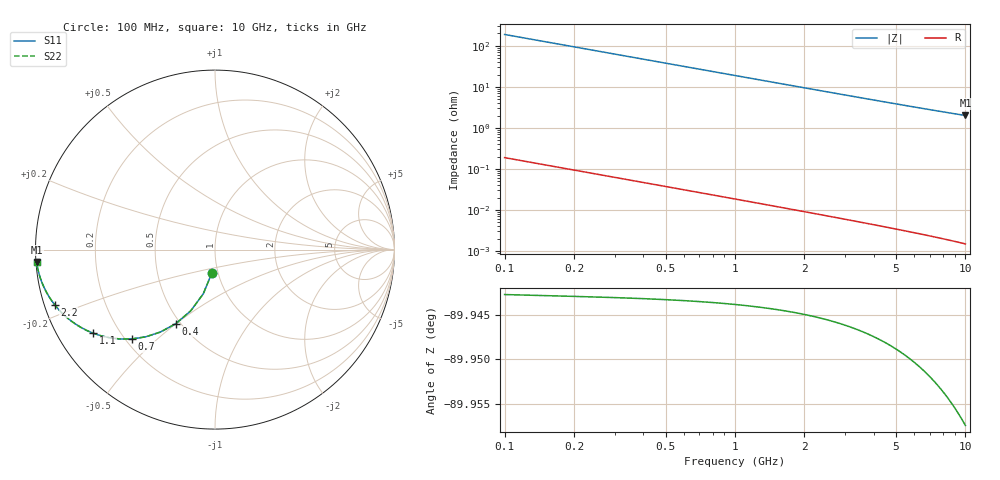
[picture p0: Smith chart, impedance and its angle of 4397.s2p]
# Hz S RI R 50.00
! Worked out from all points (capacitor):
!   100 points, 100 MHz to 10 GHz, reference 50 ohm
!   read as one part in shunt: C = 8.42 pF near 100 MHz
!   lowest |Z| = 2.01 ohm at 10 GHz (marker M1)
!   S11 on the Smith chart (normalised r, x): 100 MHz: 0.93, -0.25; 400 MHz: 0.47, -0.50; 700 MHz: 0.23, -0.42; 1.1 GHz: 0.11, -0.31; 2.2 GHz: 0.03, -0.17; 10 GHz: 0.00, -0.03
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1e8  -0.0173 -0.1299  0.9827 -0.13  0.9827 -0.13  -0.0173 -0.1299
2e8  -0.0656 -0.247  0.9344 -0.2472  0.9344 -0.2472  -0.0656 -0.247
3e8  -0.1362 -0.3424  0.8637 -0.3427  0.8637 -0.3427  -0.1362 -0.3424
4e8  -0.2189 -0.4128  0.7811 -0.4132  0.7811 -0.4132  -0.2189 -0.4128
5e8  -0.3044 -0.4594  0.6956 -0.4599  0.6956 -0.4599  -0.3044 -0.4594
6e8  -0.3864 -0.4861  0.6136 -0.4868  0.6136 -0.4868  -0.3864 -0.4861
7e8  -0.4614 -0.4976  0.5385 -0.4984  0.5385 -0.4984  -0.4614 -0.4976
8e8  -0.528 -0.4983  0.472 -0.4992  0.472 -0.4992  -0.528 -0.4983
9e8  -0.5859 -0.4916  0.414 -0.4925  0.414 -0.4925  -0.5859 -0.4916
1.1e9  -0.6787 -0.4659  0.3212 -0.4671  0.3212 -0.4671  -0.6787 -0.4659
1.2e9  -0.7154 -0.4501  0.2846 -0.4514  0.2846 -0.4514  -0.7154 -0.4501
1.4e9  -0.7737 -0.4172  0.2263 -0.4187  0.2263 -0.4187  -0.7737 -0.4172
1.6e9  -0.8169 -0.3853  0.183 -0.3871  0.183 -0.3871  -0.8169 -0.3853
1.8e9  -0.8495 -0.356  0.1505 -0.358  0.1505 -0.358  -0.8495 -0.356
2.2e9  -0.8939 -0.3062  0.1061 -0.3087  0.1061 -0.3087  -0.8939 -0.3062
2.7e9  -0.9269 -0.2583  0.0731 -0.2613  0.0731 -0.2613  -0.9269 -0.2583
3.4e9  -0.9525 -0.2102  0.0474 -0.2139  0.0474 -0.2139  -0.9525 -0.2102
4.2e9  -0.9684 -0.1721  0.0316 -0.1768  0.0316 -0.1768  -0.9684 -0.1721
5.1e9  -0.9783 -0.1422  0.0216 -0.1479  0.0216 -0.1479  -0.9783 -0.1422
6.7e9  -0.9873 -0.1073  0.0126 -0.1149  0.0126 -0.1149  -0.9873 -0.1073
8.4e9  -0.9919 -0.0838  0.00797 -0.0934  0.00797 -0.0934  -0.9919 -0.0838
1e10  -0.9943 -0.0684  0.00556 -0.0799  0.00556 -0.0799  -0.9943 -0.0684
